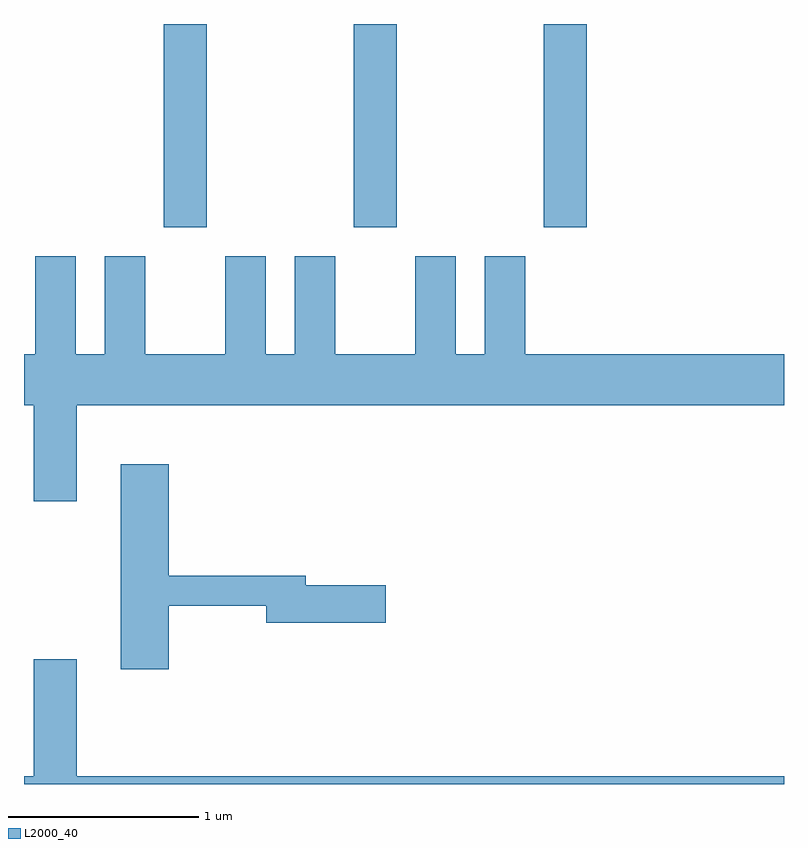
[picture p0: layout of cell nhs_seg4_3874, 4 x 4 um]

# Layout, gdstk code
import gdstk
lib = gdstk.Library(unit=1e-6, precision=1e-09)
def R(c, l, rs):  # rectangles x0, y0, x1, y1
    for r in rs: c.add(gdstk.rectangle(r[:2], r[2:], *l))
def A(c, l, x, y, w, h, nx, ny, dx, dy):  # array of equal rectangles
    R(c, l, [(x+i*dx, y+j*dy, x+i*dx+w, y+j*dy+h) for i in range(nx) for j in range(ny)])
def P(c, l, *ps):  # polygons
    for p in ps: c.add(gdstk.Polygon(p, *l))
L2000_40 = (2000, 40)

nhs_seg4_3874 = lib.new_cell('nhs_seg4_3874')
A(nhs_seg4_3874, L2000_40, 298.346, 1388.911, 0.228, 1.071, 3, 1, 1, 0)
P(nhs_seg4_3874, L2000_40, [(297.889,1387.976),(301.611,1387.976),(301.611,1388.244),(300.249,1388.244),(300.249,1388.759),(300.036,1388.759),(300.036,1388.244),(299.884,1388.244),(299.884,1388.759),(299.671,1388.759),(299.671,1388.244),(299.249,1388.244),(299.249,1388.759),(299.036,1388.759),(299.036,1388.244),(298.884,1388.244),(298.884,1388.759),(298.671,1388.759),(298.671,1388.244),(298.249,1388.244),(298.249,1388.759),(298.036,1388.759),(298.036,1388.244),(297.884,1388.244),(297.884,1388.759),(297.671,1388.759),(297.671,1388.244),(297.611,1388.244),(297.611,1387.976),(297.661,1387.976),(297.661,1387.471),(297.889,1387.471)],
  [(298.374,1386.921),(298.886,1386.921),(298.886,1386.831),(299.514,1386.831),(299.514,1387.029),(299.094,1387.029),(299.094,1387.079),(298.374,1387.079),(298.374,1387.664),(298.121,1387.664),(298.121,1386.586),(298.374,1386.586)],
  [(301.611,1386.024),(297.889,1386.024),(297.889,1386.639),(297.661,1386.639),(297.661,1386.024),(297.611,1386.024),(297.611,1385.982),(301.611,1385.982)])

lib.write_gds('nhs_seg4_3874.gds')
